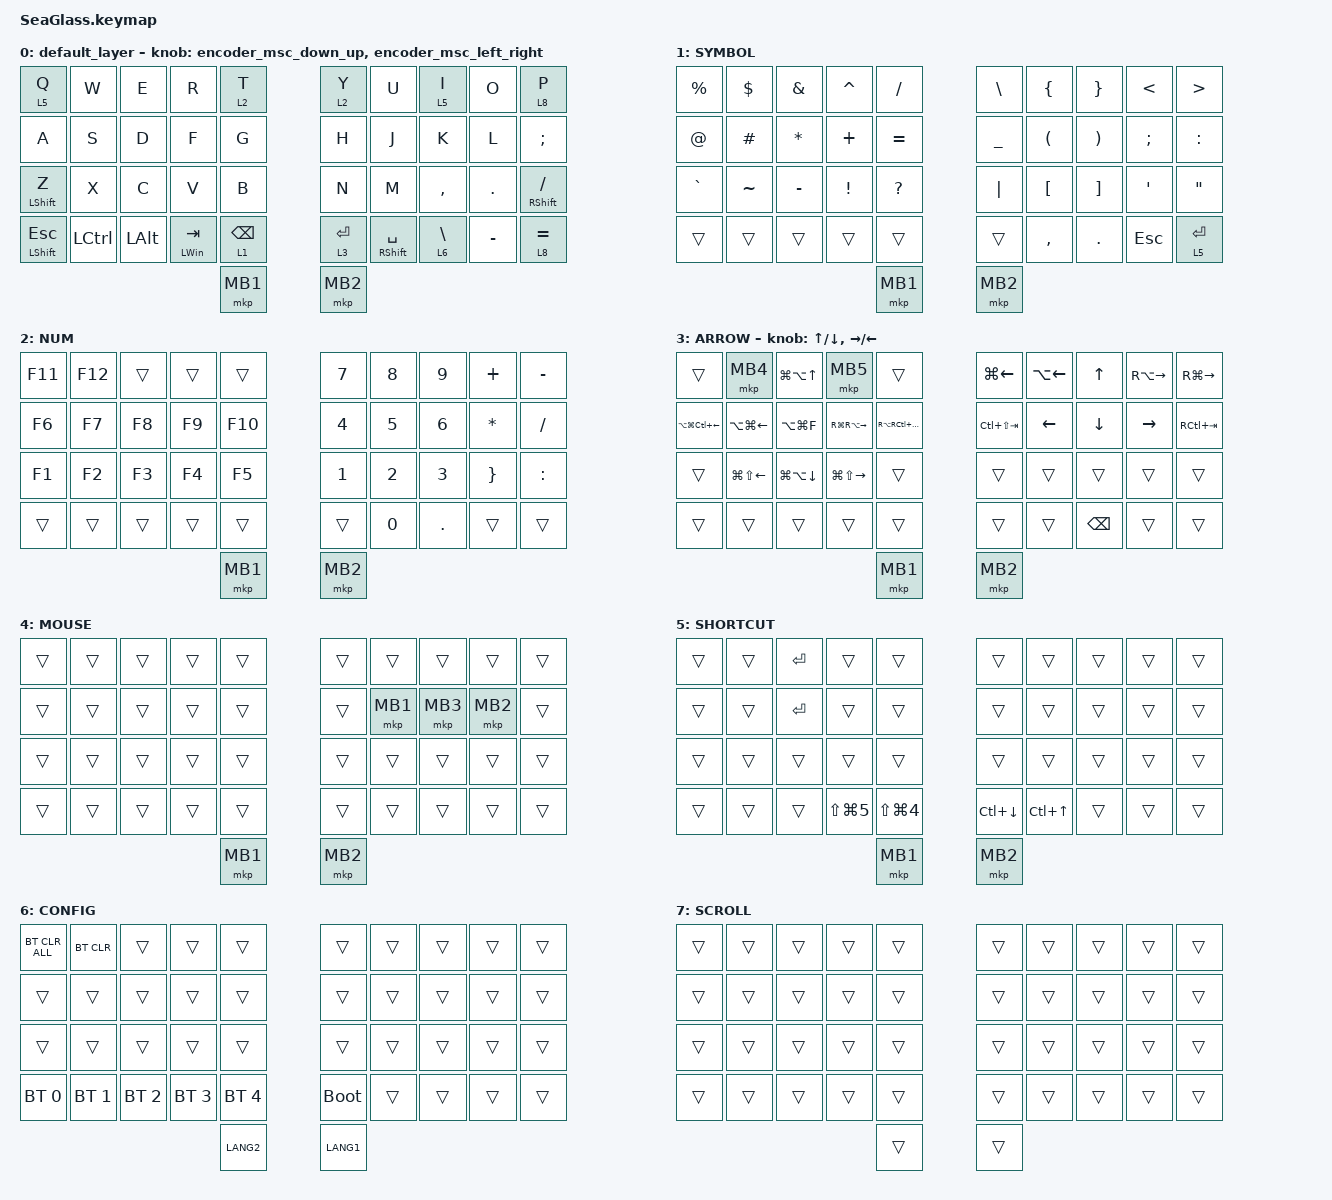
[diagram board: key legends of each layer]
#include <behaviors.dtsi>
#include <dt-bindings/zmk/bt.h>
#include <dt-bindings/zmk/keys.h>
#include <dt-bindings/zmk/pointing.h>

#define MOUSE 4
#define SCROLL 5
#define NUM 6
#define ZMK_POINTING_DEFAULT_SCRL_VAL 120

&mt {
    flavor = "balanced";
    quick-tap-ms = <300>;
};

&lt {
    flavor = "balanced";
    quick-tap-ms = <300>;
};

/ {
    combos {
        compatible = "zmk,combos";

        middle-click {
            bindings = <&mkp MB3>;
            key-positions = <40 41>;
        };

        tab {
            bindings = <&kp TAB>;
            key-positions = <10 11>;
        };

        backspace {
            bindings = <&kp BACKSPACE>;
            key-positions = <8 9>;
        };

        lang_en {
            bindings = <&kp LANG2>;
            key-positions = <12 13>;
        };

        lang_ja {
            bindings = <&kp LANG1>;
            key-positions = <16 17>;
        };
    };

    macros {
        to_layer_0: to_layer_0 {
            compatible = "zmk,behavior-macro-one-param";
            #binding-cells = <1>;
            bindings = <&to 0 &macro_param_1to1 &kp MACRO_PLACEHOLDER>;
            label = "TO_LAYER_0";
        };

        kakko: kakko {
            compatible = "zmk,behavior-macro";
            #binding-cells = <0>;
            bindings = <&kp LEFT_PARENTHESIS &kp RIGHT_PARENTHESIS &kp LEFT_ARROW>;
            label = "KAKKO";
        };

        dai_kakkko: daikakkko {
            compatible = "zmk,behavior-macro";
            #binding-cells = <0>;
            bindings = <&kp LEFT_BRACKET &kp RIGHT_BRACKET &kp LEFT_ARROW>;
            label = "DAIKAKKKO";
        };

        nami_kakko: nami_kakko {
            compatible = "zmk,behavior-macro";
            #binding-cells = <0>;
            bindings = <&kp LEFT_BRACE &kp RIGHT_BRACE &kp LEFT_ARROW>;
            label = "NAMI_KAKKO";
        };
    };

    behaviors {
        lt_to_layer_0: lt_to_layer_0 {
            compatible = "zmk,behavior-hold-tap";
            label = "LAYER_TAP_TO_0";
            bindings = <&mo>, <&to_layer_0>;

            #binding-cells = <2>;
            tapping-term-ms = <200>;
        };

        encoder_msc_down_up: encoder_msc_down_up {
            compatible = "zmk,behavior-sensor-rotate";
            label = "ENCODER_MSC_DOWN_UP";
            #sensor-binding-cells = <0>;
            bindings = <&msc SCRL_UP>, <&msc SCRL_DOWN>;

            tap-ms = <20>;
        };

        encoder_msc_left_right: encoder_msc_left_right {
            compatible = "zmk,behavior-sensor-rotate";
            label = "ENCODER_MSC_LEFT_RIGHT";
            #sensor-binding-cells = <0>;
            bindings = <&msc SCRL_LEFT>, <&msc SCRL_RIGHT>;

            tap-ms = <20>;
        };
    };

    keymap {
        compatible = "zmk,keymap";

        default_layer {
            bindings = <
&lt 5 Q                &kp W      &kp E         &kp R             &lt 2 T          &lt 2 Y      &kp U                  &lt 5 I          &kp O       &lt 8 P
&kp A                  &kp S      &kp D         &kp F             &kp G            &kp H        &kp J                  &kp K            &kp L       &kp SEMI
&mt LEFT_SHIFT Z       &kp X      &kp C         &kp V             &kp B            &kp N        &kp M                  &kp COMMA        &kp PERIOD  &mt RSHIFT SLASH
&mt LEFT_SHIFT ESCAPE  &kp LCTRL  &kp LEFT_ALT  &mt LEFT_WIN TAB  &lt 1 BACKSPACE  &lt 3 ENTER  &mt RIGHT_SHIFT SPACE  &lt 6 BACKSLASH  &kp MINUS   &lt 8 EQUAL
&mkp MB1               &mkp MB2
            >;

            sensor-bindings = <&encoder_msc_down_up>, <&encoder_msc_left_right>;
        };

        SYMBOL {
            bindings = <
&kp PRCNT  &kp DOLLAR  &kp AMPERSAND  &kp CARET        &kp FSLH      &kp BSLH        &kp LEFT_BRACE        &kp RIGHT_BRACE        &kp LESS_THAN  &kp GREATER_THAN
&kp AT     &kp HASH    &kp ASTERISK   &kp PLUS         &kp EQUAL     &kp UNDERSCORE  &kp LEFT_PARENTHESIS  &kp RIGHT_PARENTHESIS  &kp SEMI       &kp COLON
&kp GRAVE  &kp TILDE   &kp MINUS      &kp EXCLAMATION  &kp QUESTION  &kp PIPE        &kp LBKT              &kp RBKT               &kp SQT        &kp DOUBLE_QUOTES
&trans     &trans      &trans         &trans           &trans        &trans          &kp COMMA             &kp PERIOD             &kp ESC        &lt 5 ENTER
&mkp MB1   &mkp MB2
            >;
        };

        NUM {
            bindings = <
&kp F11   &kp F12   &trans  &trans  &trans   &kp N7        &kp NUMBER_8  &kp NUMBER_9  &kp PLUS         &kp MINUS
&kp F6    &kp F7    &kp F8  &kp F9  &kp F10  &kp NUMBER_4  &kp NUMBER_5  &kp NUMBER_6  &kp ASTERISK     &kp SLASH
&kp F1    &kp F2    &kp F3  &kp F4  &kp F5   &kp NUMBER_1  &kp NUMBER_2  &kp NUMBER_3  &kp RIGHT_BRACE  &kp COLON
&trans    &trans    &trans  &trans  &trans   &trans        &kp NUMBER_0  &kp PERIOD    &trans           &trans
&mkp MB1  &mkp MB2
            >;
        };

        ARROW {
            bindings = <
&trans                      &mkp MB4                &kp LG(LA(UP_ARROW))  &mkp MB5                 &trans                       &kp LG(LEFT_ARROW)  &kp LA(LEFT_ARROW)  &kp UP_ARROW    &kp RA(RIGHT_ARROW)  &kp RG(RIGHT_ARROW)
&kp LA(LG(LC(LEFT_ARROW)))  &kp LA(LG(LEFT_ARROW))  &kp LA(LG(F))         &kp RG(RA(RIGHT_ARROW))  &kp RA(RC(RG(RIGHT_ARROW)))  &kp LC(LS(TAB))     &kp LEFT_ARROW      &kp DOWN_ARROW  &kp RIGHT_ARROW      &kp RC(TAB)
&trans                      &kp LG(LS(LEFT_ARROW))  &kp LG(LA(DOWN))      &kp LG(LS(RIGHT_ARROW))  &trans                       &trans              &trans              &trans          &trans               &trans
&trans                      &trans                  &trans                &trans                   &trans                       &trans              &trans              &kp BACKSPACE   &trans               &trans
&mkp MB1                    &mkp MB2
            >;

            sensor-bindings =
                <&inc_dec_kp UP_ARROW DOWN_ARROW>,
                <&inc_dec_kp RIGHT_ARROW LEFT_ARROW>;
        };

        MOUSE {
            bindings = <
&trans    &trans    &trans  &trans  &trans  &trans  &trans    &trans    &trans    &trans
&trans    &trans    &trans  &trans  &trans  &trans  &mkp MB1  &mkp MB3  &mkp MB2  &trans
&trans    &trans    &trans  &trans  &trans  &trans  &trans    &trans    &trans    &trans
&trans    &trans    &trans  &trans  &trans  &trans  &trans    &trans    &trans    &trans
&mkp MB1  &mkp MB2
            >;
        };

        SHORTCUT {
            bindings = <
&trans    &trans    &kp ENTER  &trans          &trans          &trans              &trans            &trans  &trans  &trans
&trans    &trans    &kp ENTER  &trans          &trans          &trans              &trans            &trans  &trans  &trans
&trans    &trans    &trans     &trans          &trans          &trans              &trans            &trans  &trans  &trans
&trans    &trans    &trans     &kp LS(LG(N5))  &kp LS(LG(N4))  &kp LC(DOWN_ARROW)  &kp LC(UP_ARROW)  &trans  &trans  &trans
&mkp MB1  &mkp MB2
            >;
        };

        CONFIG {
            bindings = <
&bt BT_CLR_ALL  &bt BT_CLR    &trans        &trans        &trans        &trans       &trans  &trans  &trans  &trans
&trans          &trans        &trans        &trans        &trans        &trans       &trans  &trans  &trans  &trans
&trans          &trans        &trans        &trans        &trans        &trans       &trans  &trans  &trans  &trans
&bt BT_SEL 0    &bt BT_SEL 1  &bt BT_SEL 2  &bt BT_SEL 3  &bt BT_SEL 4  &bootloader  &trans  &trans  &trans  &trans
&kp LANG2       &kp LANG1
            >;
        };

        SCROLL {
            bindings = <
&trans  &trans  &trans  &trans  &trans  &trans  &trans  &trans  &trans  &trans
&trans  &trans  &trans  &trans  &trans  &trans  &trans  &trans  &trans  &trans
&trans  &trans  &trans  &trans  &trans  &trans  &trans  &trans  &trans  &trans
&trans  &trans  &trans  &trans  &trans  &trans  &trans  &trans  &trans  &trans
&trans  &trans
            >;
        };
    };
};
